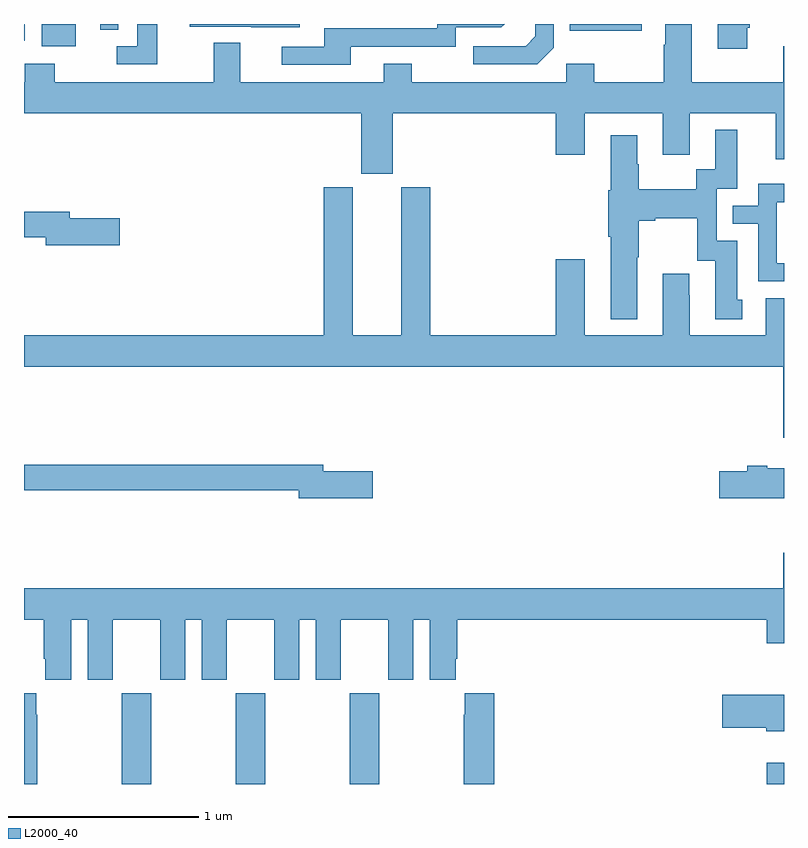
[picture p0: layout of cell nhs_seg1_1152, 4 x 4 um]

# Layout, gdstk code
import gdstk
lib = gdstk.Library(unit=1e-6, precision=1e-09)
def R(c, l, rs):  # rectangles x0, y0, x1, y1
    for r in rs: c.add(gdstk.rectangle(r[:2], r[2:], *l))
def A(c, l, x, y, w, h, nx, ny, dx, dy):  # array of equal rectangles
    R(c, l, [(x+i*dx, y+j*dy, x+i*dx+w, y+j*dy+h) for i in range(nx) for j in range(ny)])
def P(c, l, *ps):  # polygons
    for p in ps: c.add(gdstk.Polygon(p, *l))
L2000_40 = (2000, 40)

nhs_seg1_1152 = lib.new_cell('nhs_seg1_1152')
A(nhs_seg1_1152, L2000_40, 173.515, 552.199, 0.155, 0.477, 3, 1, 0.6, 0)
R(nhs_seg1_1152, L2000_40, [(176.909,552.199,177,552.31), (173.093,556.082,173.272,556.199), (173,556.111,173.004,556.199), (175.873,556.163,176.251,556.199), (173.4,556.168,173.496,556.199)])
P(nhs_seg1_1152, L2000_40, [(176.806,556.18),(176.819,556.18),(176.819,556.199),(176.651,556.199),(176.651,556.068),(176.806,556.068)],
  [(174.94,555.728),(175.799,555.728),(175.799,555.51),(175.951,555.51),(175.951,555.728),(176.363,555.728),(176.363,555.51),(176.503,555.51),(176.503,555.728),(176.957,555.728),(176.957,555.486),(177,555.486),(177,556.081),(176.996,556.081),(176.996,555.892),(176.515,555.892),(176.515,556.199),(176.375,556.199),(176.375,556.091),(176.368,556.091),(176.368,555.892),(176.001,555.892),(176.001,555.991),(175.854,555.991),(175.854,555.892),(175.041,555.892),(175.041,555.991),(174.893,555.991),(174.893,555.892),(174.139,555.892),(174.139,556.1),(173.999,556.1),(173.999,555.892),(173.163,555.892),(173.163,555.991),(173.003,555.991),(173.003,555.892),(173,555.892),(173,555.728),(174.776,555.728),(174.776,555.411),(174.94,555.411)],
  [(174.721,556.08),(175.272,556.08),(175.272,556.182),(175.512,556.182),(175.529,556.199),(175.176,556.199),(175.176,556.176),(174.581,556.176),(174.581,556.08),(174.357,556.08),(174.357,555.984),(174.721,555.984)],
  [(174.451,556.199),(173.873,556.199),(173.873,556.185),(174.197,556.185),(174.197,556.181),(174.451,556.181)],
  [(173.701,556.199),(173.597,556.199),(173.597,556.083),(173.487,556.083),(173.487,555.987),(173.701,555.987)],
  [(175.788,556.074),(175.788,556.199),(175.692,556.199),(175.692,556.134),(175.641,556.083),(175.365,556.083),(175.365,555.987),(175.701,555.987)],
  [(176.227,554.971),(176.235,554.971),(176.235,555.164),(176.323,555.164),(176.323,555.176),(176.543,555.176),(176.543,554.952),(176.639,554.952),(176.639,554.646),(176.779,554.646),(176.779,554.748),(176.755,554.748),(176.755,555.057),(176.646,555.057),(176.646,555.333),(176.755,555.333),(176.755,555.643),(176.639,555.643),(176.639,555.434),(176.538,555.434),(176.538,555.328),(176.235,555.328),(176.235,555.462),(176.227,555.462),(176.227,555.613),(176.087,555.613),(176.087,555.324),(176.075,555.324),(176.075,555.08),(176.087,555.08),(176.087,554.645),(176.227,554.645)],
  [(177,554.94),(176.961,554.94),(176.961,555.261),(177,555.261),(177,555.357),(176.865,555.357),(176.865,555.243),(176.731,555.243),(176.731,555.147),(176.865,555.147),(176.865,554.844),(177,554.844)],
  [(174.986,555.339),(174.986,554.56),(174.73,554.56),(174.73,555.339),(174.578,555.339),(174.578,554.56),(173,554.56),(173,554.396),(176.996,554.396),(176.996,554.022),(177,554.022),(177,554.755),(176.903,554.755),(176.903,554.56),(176.503,554.56),(176.503,554.771),(176.5,554.771),(176.5,554.884),(176.363,554.884),(176.363,554.56),(175.951,554.56),(175.951,554.962),(175.799,554.962),(175.799,554.56),(175.139,554.56),(175.139,555.339)],
  [(173.503,555.176),(173.242,555.176),(173.242,555.212),(173,555.212),(173,555.076),(173.114,555.076),(173.114,555.034),(173.503,555.034)],
  [(174.835,553.844),(174.574,553.844),(174.574,553.88),(173,553.88),(173,553.744),(174.446,553.744),(174.446,553.702),(174.835,553.702)],
  [(177,553.861),(176.911,553.861),(176.911,553.874),(176.807,553.874),(176.807,553.844),(176.658,553.844),(176.658,553.702),(177,553.702)],
  [(173,553.064),(173.105,553.064),(173.105,552.859),(173.111,552.859),(173.111,552.747),(173.248,552.747),(173.248,553.064),(173.336,553.064),(173.336,552.747),(173.467,552.747),(173.467,553.064),(173.717,553.064),(173.717,552.747),(173.848,552.747),(173.848,553.064),(173.936,553.064),(173.936,552.747),(174.067,552.747),(174.067,553.064),(174.317,553.064),(174.317,552.747),(174.448,552.747),(174.448,553.064),(174.536,553.064),(174.536,552.747),(174.667,552.747),(174.667,553.064),(174.917,553.064),(174.917,552.747),(175.048,552.747),(175.048,553.064),(175.136,553.064),(175.136,552.747),(175.273,552.747),(175.273,552.859),(175.28,552.859),(175.28,553.064),(176.909,553.064),(176.909,552.94),(177,552.94),(177,553.417),(176.996,553.417),(176.996,553.228),(173,553.228)],
  [(173.07,552.563),(173.065,552.563),(173.065,552.676),(173,552.676),(173,552.199),(173.07,552.199)],
  [(175.475,552.676),(175.319,552.676),(175.319,552.563),(175.315,552.563),(175.315,552.199),(175.475,552.199)],
  [(177,552.67),(176.676,552.67),(176.676,552.494),(176.906,552.494),(176.906,552.476),(177,552.476)])

lib.write_gds('nhs_seg1_1152.gds')
